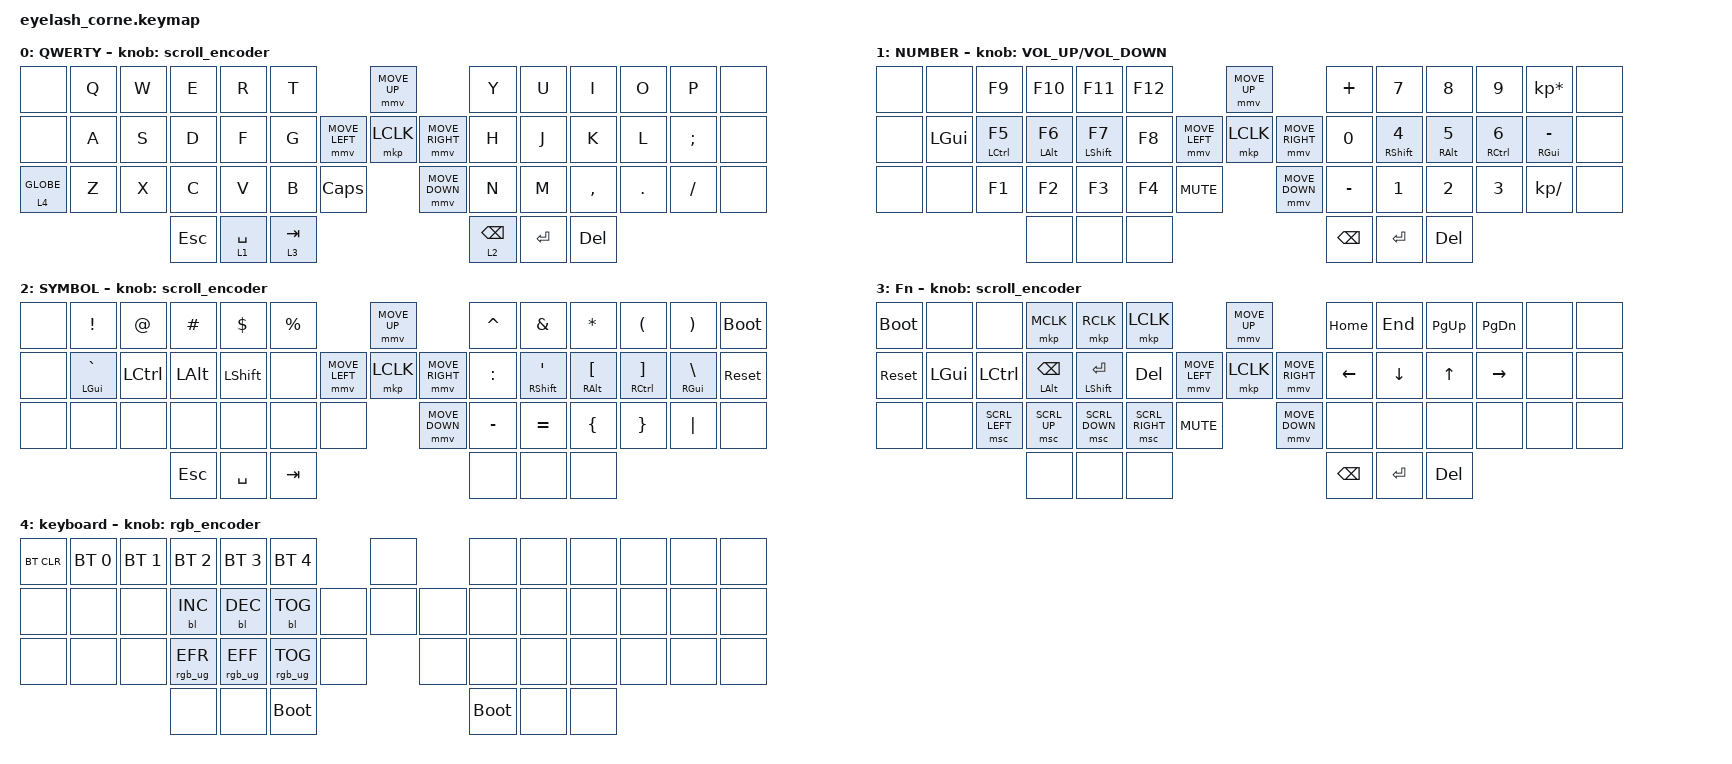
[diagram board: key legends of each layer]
#include <dt-bindings/zmk/mouse.h>
#include <input/processors.dtsi>
#include <behaviors.dtsi>
#include <dt-bindings/zmk/backlight.h>
#include <dt-bindings/zmk/bt.h>
#include <dt-bindings/zmk/keys.h>
#include <dt-bindings/zmk/pointing.h>
#include <dt-bindings/zmk/pointing.h>
#include <dt-bindings/zmk/pointing.h>
#include <dt-bindings/zmk/rgb.h>

/*

   &mmv_input_listener {
       input-processors = <&zip_xy_scaler 2 1>;
   };

   &msc_input_listener {
       input-processors = <&zip_xy_scaler 2 1>;
   };

 */

#define ZMK_MOUSE_DEFAULT_MOVE_VAL 1200  // 600
#define ZMK_MOUSE_DEFAULT_SCRL_VAL 20    // 10

/ {
    behaviors {
        td0: td0 {
            compatible = "zmk,behavior-tap-dance";
            display-name = "Shift/Caps Lock Tap Dance";
            #binding-cells = <0>;
            bindings = <&kp LEFT_SHIFT>, <&kp CAPS>;
        };
    };

    rgb_encoder: rgb_encoder {
        compatible = "zmk,behavior-sensor-rotate";
        #sensor-binding-cells = <0>;
        bindings = <&rgb_ug RGB_BRI>, <&rgb_ug RGB_BRD>;
    };

    scroll_encoder: scroll_encoder {
        compatible = "zmk,behavior-sensor-rotate";
        #sensor-binding-cells = <0>;
        bindings = <&msc SCRL_DOWN>, <&msc SCRL_UP>;

        tap-ms = <30>;
    };

    combos {
        compatible = "zmk,combos";

        leftshift {
            bindings = <&kp LEFT_SHIFT>;
            key-positions = <29 17>;
            slow-release;
            layers = <0>;
            timeout-ms = <220>;
        };

        leftcontrol {
            bindings = <&kp LEFT_CONTROL>;
            key-positions = <15 33>;
            layers = <0>;
            slow-release;
            timeout-ms = <220>;
        };

        leftgui {
            bindings = <&kp LEFT_GUI>;
            key-positions = <14 33>;
            layers = <0>;
            slow-release;
            timeout-ms = <220>;
        };

        leftoption {
            bindings = <&kp LEFT_ALT>;
            key-positions = <33 16>;
            layers = <0>;
            slow-release;
            timeout-ms = <220>;
        };

        rightshift {
            bindings = <&kp RIGHT_SHIFT>;
            key-positions = <23 40>;
            layers = <0>;
            slow-release;
            timeout-ms = <220>;
        };

        rightgui {
            bindings = <&kp RIGHT_GUI>;
            key-positions = <36 26>;
            layers = <0>;
            slow-release;
            timeout-ms = <220>;
        };

        rightcontrol {
            bindings = <&kp RIGHT_CONTROL>;
            key-positions = <36 25>;
            layers = <0>;
            slow-release;
            timeout-ms = <220>;
        };

        rightoption {
            bindings = <&kp RIGHT_ALT>;
            key-positions = <36 24>;
            layers = <0>;
            slow-release;
            timeout-ms = <220>;
        };

        left-alt-tab {
            bindings = <&kp LA(TAB)>;
            key-positions = <16 44>;
            timeout-ms = <200>;
            layers = <0>;
        };

        left-gui-tab {
            bindings = <&kp LG(TAB)>;
            key-positions = <14 44>;
            timeout-ms = <220>;
            layers = <0>;
        };

        left-option-tilde {
            bindings = <&kp LA(GRAVE)>;
            key-positions = <14 16>;
            timeout-ms = <220>;
            layers = <0>;
        };

        left-shilf-esc {
            bindings = <&kp LS(ESCAPE)>;
            key-positions = <17 42>;
            timeout-ms = <220>;
            layers = <0>;
        };

        wincopy {
            bindings = <&kp LC(C)>;
            key-positions = <29 31>;
            timeout-ms = <220>;
            layers = <0>;
        };

        winpaste {
            bindings = <&kp LC(V)>;
            key-positions = <29 32>;
            layers = <0>;
            timeout-ms = <220>;
        };

        wincut {
            bindings = <&kp LC(X)>;
            key-positions = <29 30>;
        };

        maccopy {
            bindings = <&kp LG(C)>;
            key-positions = <32 31>;
            timeout-ms = <220>;
            layers = <0>;
        };

        maccut {
            bindings = <&kp LG(X)>;
            key-positions = <30 32>;
            timeout-ms = <220>;
            layers = <0>;
        };

        macpaste {
            bindings = <&kp LG(V)>;
            key-positions = <30 32 31>;
            timeout-ms = <220>;
            layers = <0>;
        };

        leftctlshift {
            bindings = <&kp LC(LEFT_SHIFT)>;
            key-positions = <17 15>;
            timeout-ms = <220>;
            slow-release;
            layers = <0>;
        };

        left-ctraltshift {
            bindings = <&kp LC(LA(LEFT_SHIFT))>;
            key-positions = <17 15 16>;
            timeout-ms = <220>;
            slow-release;
            layers = <0>;
        };

        right-ctrlshift {
            bindings = <&kp RC(RIGHT_SHIFT)>;
            key-positions = <23 25>;
            timeout-ms = <220>;
            slow-release;
            layers = <0>;
        };

        right-ctrlaltshift {
            bindings = <&kp RC(RA(RIGHT_SHIFT))>;
            key-positions = <23 25 24>;
            timeout-ms = <220>;
            slow-release;
            layers = <0>;
        };

        left-cmdshift {
            bindings = <&kp LG(LEFT_SHIFT)>;
            key-positions = <17 14>;
            timeout-ms = <220>;
            slow-release;
            layers = <0>;
        };

        left-cmdoptshift {
            bindings = <&kp LA(LG(LEFT_SHIFT))>;
            key-positions = <17 16 14>;
            timeout-ms = <220>;
            slow-release;
            layers = <0>;
        };

        right-cmdshift {
            bindings = <&kp RG(RIGHT_SHIFT)>;
            key-positions = <23 26>;
            timeout-ms = <220>;
            slow-release;
            layers = <0>;
        };

        right-cmdoptshift {
            bindings = <&kp RA(RG(RIGHT_SHIFT))>;
            key-positions = <23 24 26>;
            timeout-ms = <220>;
            slow-release;
            layers = <0>;
        };

        ctrl-enter {
            bindings = <&kp RC(ENTER)>;
            key-positions = <25 46>;
            timeout-ms = <220>;
            slow-release;
            layers = <0>;
        };

        cmd-enter {
            bindings = <&kp RG(ENTER)>;
            key-positions = <46 26>;
            timeout-ms = <220>;
            slow-release;
            layers = <0>;
        };

        alt-enter {
            bindings = <&kp RA(ENTER)>;
            key-positions = <46 24>;
            timeout-ms = <220>;
            slow-release;
            layers = <0>;
        };

        shift-enter {
            bindings = <&kp RS(ENTER)>;
            key-positions = <46 23>;
            timeout-ms = <220>;
            slow-release;
            layers = <0>;
        };

        ctrl-bksp {
            bindings = <&kp RC(BACKSPACE)>;
            key-positions = <25 45>;
            timeout-ms = <220>;
            slow-release;
            layers = <0>;
        };

        opt-bksp {
            bindings = <&kp RC(BACKSPACE)>;
            key-positions = <45 24>;
            timeout-ms = <220>;
            slow-release;
            layers = <0>;
        };
    };

    keymap {
        compatible = "zmk,keymap";

        letter {
            display-name = "QWERTY";
            bindings = <
&none        &kp Q  &kp W  &kp E    &kp R        &kp T                                  &mmv MOVE_UP                     &kp Y            &kp U      &kp I       &kp O    &kp P     &none
&none        &kp A  &kp S  &kp D    &kp F        &kp G                  &mmv MOVE_LEFT  &mkp LCLK       &mmv MOVE_RIGHT  &kp H            &kp J      &kp K       &kp L    &kp SEMI  &none
&lt 4 GLOBE  &kp Z  &kp X  &kp C    &kp V        &kp B      &kp CAPS                    &mmv MOVE_DOWN                   &kp N            &kp M      &kp COMMA   &kp DOT  &kp FSLH  &none
                           &kp ESC  &lt 1 SPACE  &lt 3 TAB                                                               &lt 2 BACKSPACE  &kp ENTER  &kp DELETE
            >;

            sensor-bindings = <&scroll_encoder>;
        };

        number {
            display-name = "NUMBER";
            bindings = <
&none  &none         &kp F9               &kp F10          &kp F11            &kp F12                                &mmv MOVE_UP                     &kp PLUS       &kp N7              &kp N8            &kp N9                &kp KP_ASTERISK      &none
&none  &kp LEFT_GUI  &mt LEFT_CONTROL F5  &mt LEFT_ALT F6  &mt LEFT_SHIFT F7  &kp F8                 &mmv MOVE_LEFT  &mkp LCLK       &mmv MOVE_RIGHT  &kp N0         &mt RIGHT_SHIFT N4  &mt RIGHT_ALT N5  &mt RIGHT_CONTROL N6  &mt RIGHT_GUI MINUS  &none
&none  &none         &kp F1               &kp F2           &kp F3             &kp F4   &kp C_MUTE                    &mmv MOVE_DOWN                   &kp MINUS      &kp N1              &kp N2            &kp N3                &kp KP_DIVIDE        &none
                                          &none            &none              &none                                                                   &kp BACKSPACE  &kp ENTER           &kp DEL
            >;

            sensor-bindings = <&inc_dec_kp C_VOLUME_UP C_VOLUME_DOWN>;
        };

        symbol {
            display-name = "SYMBOL";
            bindings = <
&none  &kp EXCL            &kp AT            &kp HASH      &kp DLLR        &kp PRCNT                           &mmv MOVE_UP                     &kp CARET  &kp AMPS             &kp ASTRK                   &kp LPAR                         &kp RPAR                 &bootloader
&none  &mt LEFT_GUI GRAVE  &kp LEFT_CONTROL  &kp LEFT_ALT  &kp LEFT_SHIFT  &none               &mmv MOVE_LEFT  &mkp LCLK       &mmv MOVE_RIGHT  &kp COLON  &mt RIGHT_SHIFT SQT  &mt RIGHT_ALT LEFT_BRACKET  &mt RIGHT_CONTROL RIGHT_BRACKET  &mt RIGHT_GUI BACKSLASH  &sys_reset
&none  &none               &none             &none         &none           &none      &none                    &mmv MOVE_DOWN                   &kp MINUS  &kp EQUAL            &kp LBRC                    &kp RBRC                         &kp PIPE                 &none
                                             &kp ESC       &kp SPACE       &kp TAB                                                              &none      &none                &none
            >;

            sensor-bindings = <&scroll_encoder>;
        };

        movement {
            display-name = "Fn";
            bindings = <
&bootloader  &none         &none             &mkp MCLK               &mkp RCLK             &mkp LCLK                                      &mmv MOVE_UP                     &kp HOME       &kp END    &kp PAGE_UP   &kp PAGE_DOWN  &none  &none
&sys_reset   &kp LEFT_GUI  &kp LEFT_CONTROL  &mt LEFT_ALT BACKSPACE  &mt LEFT_SHIFT ENTER  &kp DELETE                     &mmv MOVE_LEFT  &mkp LCLK       &mmv MOVE_RIGHT  &kp LEFT       &kp DOWN   &kp UP_ARROW  &kp RIGHT      &none  &none
&none        &none         &msc SCRL_LEFT    &msc SCRL_UP            &msc SCRL_DOWN        &msc SCRL_RIGHT  &kp C_MUTE                    &mmv MOVE_DOWN                   &none          &none      &none         &none          &none  &none
                                             &none                   &none                 &none                                                                           &kp BACKSPACE  &kp ENTER  &kp DELETE
            >;

            sensor-bindings = <&scroll_encoder>;
        };

        keyboard {
            bindings = <
&bt BT_CLR  &bt BT_SEL 0  &bt BT_SEL 1  &bt BT_SEL 2     &bt BT_SEL 3     &bt BT_SEL 4                     &none         &none        &none  &none  &none  &none  &none
&none       &none         &none         &bl BL_INC       &bl BL_DEC       &bl BL_TOG                &none  &none  &none  &none        &none  &none  &none  &none  &none
&none       &none         &none         &rgb_ug RGB_EFR  &rgb_ug RGB_EFF  &rgb_ug RGB_TOG  &none           &none         &none        &none  &none  &none  &none  &none
                                        &none            &none            &bootloader                                    &bootloader  &none  &none
            >;

            sensor-bindings = <&rgb_encoder>;
        };
    };
};
